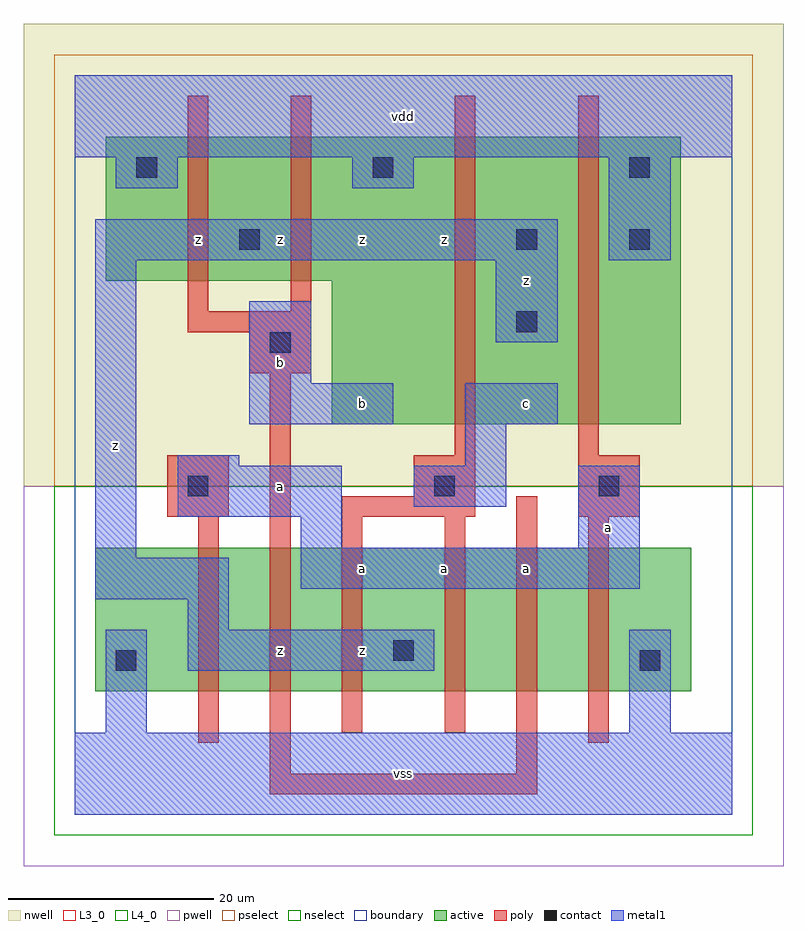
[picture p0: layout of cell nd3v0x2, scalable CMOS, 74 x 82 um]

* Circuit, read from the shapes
.subckt nd3v0x2 a b c vdd vss z
M1 n1 a vss VSUBS nfet w=14u l=2u
M2 n2 b n1 VSUBS nfet w=14u l=2u
M3 z c n2 VSUBS nfet w=14u l=2u
M4 n3 c z VSUBS nfet w=14u l=2u
M5 n4 b n3 VSUBS nfet w=14u l=2u
M6 vss a n4 VSUBS nfet w=14u l=2u
M7 z b vdd n5 pfet w=14u l=2u m=2
M8 z c vdd n5 pfet w=28u l=2u
M9 vdd a z n5 pfet w=28u l=2u
.ends

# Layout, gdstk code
import gdstk
lib = gdstk.Library(unit=1e-6, precision=1e-09)
def R(c, l, rs):  # rectangles x0, y0, x1, y1
    for r in rs: c.add(gdstk.rectangle(r[:2], r[2:], *l))
L3_0 = (3, 0)
L4_0 = (4, 0)
contact = (25, 0)
pwell = (41, 0)
nwell = (42, 0)
active = (43, 0)
pselect = (44, 0)
nselect = (45, 0)
poly = (46, 0)
metal1 = (49, 0)
boundary = (63, 0)

nd3v0x2 = lib.new_cell('nd3v0x2')
R(nd3v0x2, L3_0, [(2,12,60,26)])
R(nd3v0x2, L4_0, [(25,38,59,52), (3,52,59,66)])
R(nd3v0x2, contact, [(4,14,6,16), (55,14,57,16), (31,15,33,17), (11,31,13,33), (35,31,37,33), (51,31,53,33), (19,45,21,47), (43,47,45,49), (16,55,18,57), (43,55,45,57), (54,55,56,57), (6,62,8,64), (29,62,31,64), (54,62,56,64)])
R(nd3v0x2, pwell, [(-5,-5,69,32)])
R(nd3v0x2, nwell, [(-5,32,69,77)])
R(nd3v0x2, active, [(2,12,60,26), (25,38,59,52), (3,52,59,66)])
R(nd3v0x2, pselect, [(-2,32,66,74)])
R(nd3v0x2, nselect, [(-2,-2,66,32)])
R(nd3v0x2, poly, [(19,2,45,4), (19,4,21,43), (43,4,45,31), (12,7,14,29), (50,7,52,29), (26,8,28,29), (36,8,38,29), (9,29,15,35), (26,29,39,31), (49,29,55,35), (33,31,39,35), (37,35,39,70), (49,35,51,70), (17,43,23,47), (11,47,23,49), (11,49,13,70), (21,49,23,70)])
R(nd3v0x2, metal1, [(0,0,64,8), (3,8,7,18), (54,8,58,18), (11,14,35,18), (11,18,15,21), (2,21,15,25), (22,22,55,26), (2,25,6,54), (22,26,26,29), (49,26,55,34), (10,29,26,34), (33,30,42,34), (10,34,16,35), (38,34,42,38), (17,38,31,42), (38,38,47,42), (17,42,23,50), (41,46,47,54), (2,54,47,58), (52,54,58,64), (4,61,10,64), (27,61,33,64), (0,64,64,72)])
R(nd3v0x2, boundary, [(0,0,64,72)])
nd3v0x2.add(gdstk.Label('z', (4,36), layer=49, texttype=0))
nd3v0x2.add(gdstk.Label('z', (12,56), layer=49, texttype=0))
nd3v0x2.add(gdstk.Label('z', (20,16), layer=49, texttype=0))
nd3v0x2.add(gdstk.Label('z', (28,16), layer=49, texttype=0))
nd3v0x2.add(gdstk.Label('a', (28,24), layer=49, texttype=0))
nd3v0x2.add(gdstk.Label('a', (20,32), layer=49, texttype=0))
nd3v0x2.add(gdstk.Label('b', (28,40), layer=49, texttype=0))
nd3v0x2.add(gdstk.Label('b', (20,44), layer=49, texttype=0))
nd3v0x2.add(gdstk.Label('z', (20,56), layer=49, texttype=0))
nd3v0x2.add(gdstk.Label('z', (28,56), layer=49, texttype=0))
nd3v0x2.add(gdstk.Label('vss', (32,4), layer=49, texttype=0))
nd3v0x2.add(gdstk.Label('a', (36,24), layer=49, texttype=0))
nd3v0x2.add(gdstk.Label('a', (44,24), layer=49, texttype=0))
nd3v0x2.add(gdstk.Label('c', (44,40), layer=49, texttype=0))
nd3v0x2.add(gdstk.Label('z', (44,52), layer=49, texttype=0))
nd3v0x2.add(gdstk.Label('z', (36,56), layer=49, texttype=0))
nd3v0x2.add(gdstk.Label('vdd', (32,68), layer=49, texttype=0))
nd3v0x2.add(gdstk.Label('a', (52,28), layer=49, texttype=0))

lib.write_gds('nd3v0x2.gds')
